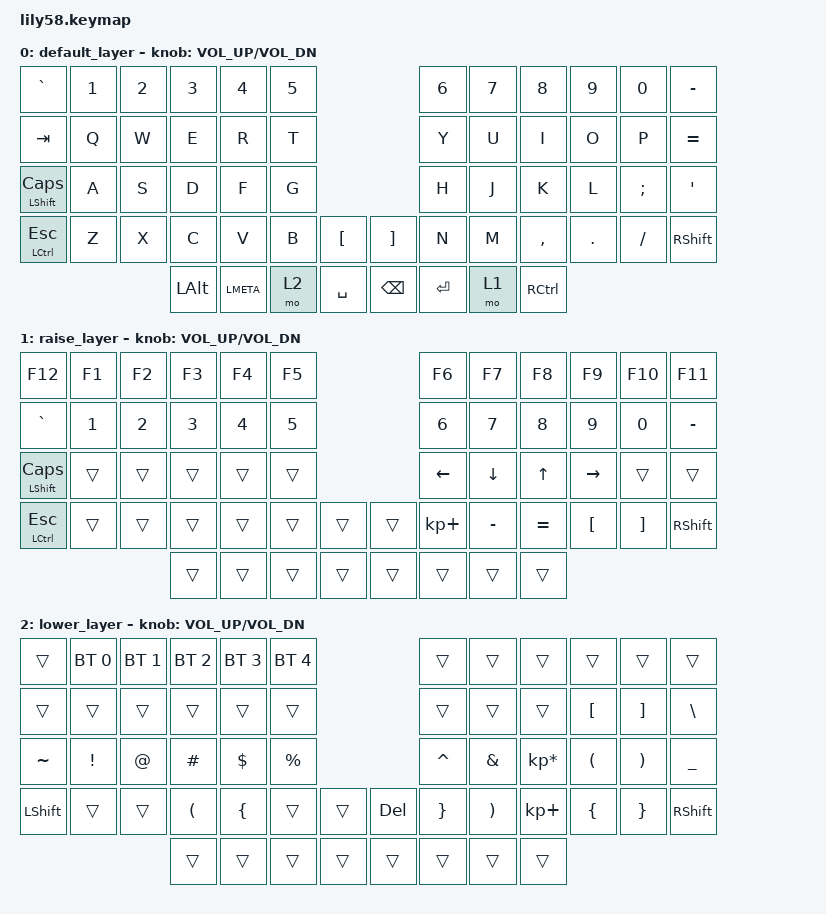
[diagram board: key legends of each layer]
/*
 * Copyright (c) 2020 The ZMK Contributors
 *
 * SPDX-License-Identifier: MIT
 */

#include <behaviors.dtsi>
#include <dt-bindings/zmk/bt.h>
#include <dt-bindings/zmk/keys.h>

/ {
    // Combo keys are a way to combine multiple keypresses to output a different key.

    combos {
        compatible = "zmk,combos";

        combo_clear_bluetooth {
            timeout-ms = <50>; // Press all the below keys within 50ms to activate mapping
            key-positions = <52 42 0>; // Press 52=LOWER, 42=[, 0=tilde
            bindings = <&bt BT_CLR>; // activate clear bluetooth bindings for current channel
        };

        profile1 {
            bindings = <&bt BT_SEL 0>;
            key-positions = <52 1 56>;
        };

        Profile2 {
            bindings = <&bt BT_SEL 1>;
            key-positions = <2 52 56>;
        };

        BootLeft {
            bindings = <&bootloader>;
            key-positions = <42 53 52 51 50>;
        };

        BootRight {
            bindings = <&bootloader>;
            key-positions = <43 54 55 56 57>;
        };
    };

    keymap {
        compatible = "zmk,keymap";

        default_layer {
            // ------------------------------------------------------------------------------------------------------------
            // |   `      |  1  |  2  |  3   |  4   |  5   |                   |  6   |  7    |  8    |  9   |   0   |   -   |
            // |  TAB     |  Q  |  W  |  E   |  R   |  T   |                   |  Y   |  U    |  I    |  O   |   P   |   =   |
            // |hCTRL tESC|  A  |  S  |  D   |  F   |  G   |                   |  H   |  J    |  K    |  L   |   ;   |   '   |
            // | SHIFT    |  Z  |  X  |  C   |  V   |  B   |   "["  |  |  "]"  |  N   |  M    |  ,    |  .   |   /   | SHIFT |
            //                        | ALT  | GUI  | LOWER|  SPACE |  | BSPC  | ENTER| RAISE | CTRL  |

            bindings = <
&kp GRAVE                &kp N1  &kp N2  &kp N3    &kp N4     &kp N5                         &kp N6   &kp N7  &kp N8     &kp N9   &kp N0    &kp MINUS
&kp TAB                  &kp Q   &kp W   &kp E     &kp R      &kp T                          &kp Y    &kp U   &kp I      &kp O    &kp P     &kp EQUAL
&mt LEFT_SHIFT CAPSLOCK  &kp A   &kp S   &kp D     &kp F      &kp G                          &kp H    &kp J   &kp K      &kp L    &kp SEMI  &kp SQT
&mt LCTRL ESCAPE         &kp Z   &kp X   &kp C     &kp V      &kp B   &kp LBKT     &kp RBKT  &kp N    &kp M   &kp COMMA  &kp DOT  &kp FSLH  &kp RSHFT
                                         &kp LALT  &kp LMETA  &mo 2   &kp SPACE    &kp BSPC  &kp RET  &mo 1   &kp RCTRL
            >;

            sensor-bindings = <&inc_dec_kp C_VOL_UP C_VOL_DN>;
        };

        raise_layer {
            // ------------------------------------------------------------------------------------------------------------
            // |  F12    |  F1 |  F2 |  F3  |  F4  |  F5  |                   |  F6  |   F7  |   F8  |  F9  |  F10  |  F11  |
            // |   `     |  1  |  2  |  3   |  4   |  5   |                   |  6   |   7   |   8   |  9   |   0   |   -   |
            // |CTRL/ESC |     |     |      |      |      |                   |  <-  |   ^   |   v   |  ->  |       |       |
            // | SHIFT   |     |     |      |      |      |        |  |       |  +   |   -   |   =   |  [   |   ]   |   \   |
            //                       |      |      |      |        |  |       |      |       |       |

            bindings = <
&kp F12              &kp F1  &kp F2  &kp F3  &kp F4  &kp F5                    &kp F6       &kp F7     &kp F8     &kp F9     &kp F10   &kp F11
&kp GRAVE            &kp N1  &kp N2  &kp N3  &kp N4  &kp N5                    &kp N6       &kp N7     &kp N8     &kp N9     &kp N0    &kp MINUS
&mt LSHIFT CAPSLOCK  &trans  &trans  &trans  &trans  &trans                    &kp LEFT     &kp DOWN   &kp UP     &kp RIGHT  &trans    &trans
&mt LCTRL ESC        &trans  &trans  &trans  &trans  &trans  &trans    &trans  &kp KP_PLUS  &kp MINUS  &kp EQUAL  &kp LBKT   &kp RBKT  &kp RIGHT_SHIFT
                                     &trans  &trans  &trans  &trans    &trans  &trans       &trans     &trans
            >;

            sensor-bindings = <&inc_dec_kp C_VOL_UP C_VOL_DN>;
        };

        lower_layer {
            // ------------------------------------------------------------------------------------------------------------
            // |          | BT1     | BT2    |  BT3 |  BT4  |  BT5 |                    |      |       |       |      |       |       |
            // |          |         |        |      |       |      |                    |      |       |       |  [   |   ]   |   \   |
            // |   ~      |  !      |  @     |  #   |  $    |  %   |                    |  ^   |  &    |  *    |  (   |   )   |   _   |
            // | SHIFT    |  EP_ON  | EP_OFF |      |  (    |  {   |       |  |   DEL   |  }   |  )    |  +    |  {   |   }   | SHIFT |
            //                               |      |       |      |       |  |         |      |       |       |

            bindings = <
&trans      &bt BT_SEL 0  &bt BT_SEL 1  &bt BT_SEL 2  &bt BT_SEL 3  &bt BT_SEL 4                     &trans     &trans    &trans           &trans    &trans    &trans
&trans      &trans        &trans        &trans        &trans        &trans                           &trans     &trans    &trans           &kp LBKT  &kp RBKT  &kp BSLH
&kp TILDE   &kp EXCL      &kp AT        &kp HASH      &kp DOLLAR    &kp PRCNT                        &kp CARET  &kp AMPS  &kp KP_MULTIPLY  &kp LPAR  &kp RPAR  &kp UNDER
&kp LSHIFT  &trans        &trans        &kp LPAR      &kp LBRC      &trans        &trans    &kp DEL  &kp RBRC   &kp RPAR  &kp KP_PLUS      &kp LBRC  &kp RBRC  &kp RSHFT
                                        &trans        &trans        &trans        &trans    &trans   &trans     &trans    &trans
            >;

            sensor-bindings = <&inc_dec_kp C_VOL_UP C_VOL_DN>;
        };
    };
};
